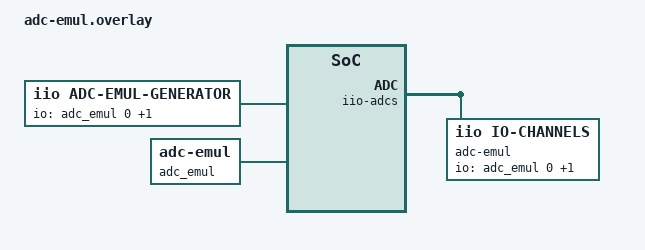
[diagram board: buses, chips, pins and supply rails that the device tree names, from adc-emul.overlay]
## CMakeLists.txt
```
# Copyright (c) 2025 Analog Devices, Inc.
# SPDX-License-Identifier: MIT

cmake_minimum_required(VERSION 3.20.0)

if(CONFIG_LIBIIO_IIOD_ADC_EMUL)
  list(APPEND EXTRA_DTC_OVERLAY_FILE adc-emul.overlay)
  list(APPEND EXTRA_CONF_FILE adc-emul.conf)
endif()

if(CONFIG_LIBIIO_IIOD_SENSOR_EMUL)
  list(APPEND EXTRA_DTC_OVERLAY_FILE sensor-emul.overlay)
  list(APPEND EXTRA_CONF_FILE sensor-emul.conf)
endif()

if(CONFIG_LIBIIO_IIOD_MULTI_SENSOR_EMUL)
  list(APPEND EXTRA_DTC_OVERLAY_FILE multi-sensor-emul.overlay)
  list(APPEND EXTRA_CONF_FILE sensor-emul.conf)
endif()

if(CONFIG_ADC_MAX32)
  list(APPEND EXTRA_DTC_OVERLAY_FILE adc-max32.overlay)
endif()

find_package(Zephyr REQUIRED HINTS $ENV{ZEPHYR_BASE})
project(iiod)

target_sources(app PRIVATE src/main.c)
```

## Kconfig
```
# Copyright (c) 2025 Analog Devices, Inc.
# SPDX-License-Identifier: MIT

menu "iiod sample"

config LIBIIO_IIOD_ADC_EMUL
	bool "Enable ADC emulator"
	help
	  Enable ADC emulator IIO device driver.

config LIBIIO_IIOD_ADC_MAX32
	bool "Enable APARD32690 on-board ADC"
	help
	  Use the real MAX32690 on-board ADC (APARD32690 board) instead of the
	  emulated ADC.

config LIBIIO_IIOD_SENSOR_EMUL
	bool "Enable sensor emulator"
	help
	  Enable sensor emulator IIO device driver.

config LIBIIO_IIOD_MULTI_SENSOR_EMUL
	bool "Enable multi-sensor emulator (two ADLTC2990 instances)"
	help
	  Enable two emulated ADLTC2990 sensor instances. Demonstrates that
	  the reg property and @N unit-address are required when multiple
	  nodes share the same compatible and name within an iio-sensors bus.

config LIBIIO_IIOD_SENSOR_ADXL345
	bool "Enable adxl345 sensor"
	help
	  Enable adxl345 sensor IIO device driver.

config LIBIIO_IIOD_SENSOR_ADXL345_STREAM
	bool "Enable adxl345 sensor stream"
	help
	  Enable adxl345 sensor stream.

endmenu

source "Kconfig.zephyr"
```

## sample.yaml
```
sample:
  description: iiod server sample
  name: iiod
common:
  tags: iiod
  harness: console
  harness_config:
    type: one_line
    regex:
      - "Booting Zephyr OS"
  extra_args:
    - platform:max32666fthr/max32666/cpu0:SNIPPET="iiod-usb"
    - platform:nucleo_h723zg/stm32h723xx:SNIPPET="iiod-network"
    - platform:cygnet/stm32l433xx:SNIPPET="iiod-usb"
    - platform:apard32690@D/max32690/m4:SNIPPET="iiod-usb"
    - platform:nrf52840dk/nrf52840:SNIPPET="iiod-usb"
    - platform:apard32690@E/max32690/m4:SNIPPET="iiod-usb"
    - platform:frdm_mcxn236/mcxn236:SNIPPET="iiod-usb"
    - platform:adafruit_metro_rp2040/rp2040:SNIPPET="iiod-usb"
    - platform:adafruit_qt_py_rp2040/rp2040:SNIPPET="iiod-cdc-acm"

tests:
  sample.iiod.emul.usb:
    depends_on:
      - usbd
    extra_args:
      - SNIPPET=iiod-usb
    extra_configs:
      - CONFIG_LIBIIO_IIOD_ADC_EMUL=y
      - CONFIG_LIBIIO_IIOD_SENSOR_EMUL=y

  sample.iiod.emul.cdc-acm:
    depends_on:
      - usbd
    extra_args:
      - SNIPPET=iiod-cdc-acm
    extra_configs:
      - CONFIG_LIBIIO_IIOD_ADC_EMUL=y
      - CONFIG_LIBIIO_IIOD_SENSOR_EMUL=y

  sample.iiod.emul.console:
    depends_on:
      - serial
    extra_args:
      - SNIPPET=iiod-console
    extra_configs:
      - CONFIG_LIBIIO_IIOD_ADC_EMUL=y
      - CONFIG_LIBIIO_IIOD_SENSOR_EMUL=y
    platform_allow:
      - apard32690/max32690/m4

  sample.iiod.multi-sensor-emul.console:
    depends_on:
      - serial
    extra_args:
      - SNIPPET=iiod-console
    extra_configs:
      - CONFIG_LIBIIO_IIOD_MULTI_SENSOR_EMUL=y
    platform_allow:
      - apard32690/max32690/m4

  sample.iiod.adc_max32.console:
    extra_args:
      - SNIPPET=iiod-console
      - EXTRA_DTC_OVERLAY_FILE=adc-max32.overlay
    platform_allow:
      - apard32690/max32690/m4
    integration_platforms:
      - apard32690/max32690/m4

  sample.iiod.lsmspg:
    depends_on:
      - feather_spi
      - feather_i2c
    integration_platforms:
      - max32666fthr/max32666/cpu0
      - max32655fthr/max32655/m4
      - cygnet
    extra_configs:
      - CONFIG_SENSOR=y
      - CONFIG_ADC=y
      - CONFIG_DAC=y
    extra_args:
      - SHIELD="adi_lsmspg;iio_adi_lsmspg"

  sample.iiod.pmod_acl:
    depends_on:
      - pmod_spi
    integration_platforms:
      - apard32690/max32690/m4
    extra_configs:
      - CONFIG_SENSOR=y
    extra_args:
      - SHIELD="pmod_acl;iio_pmod_acl"

  sample.iiod.eval_adxl362_ardz:
    depends_on:
      - arduino_spi
      - arduino_gpio
    integration_platforms:
      - nucleo_h723zg/stm32h723xx
      - apard32690/max32690/m4
      - nrf52840dk/nrf52840
      - frdm_mcxn236/mcxn236
    extra_configs:
      - CONFIG_SENSOR=y
    extra_args:
      - SHIELD="eval_adxl362_ardz;iio_eval_adxl362_ardz"

  sample.iiod.eval_ad4052_ardz:
    depends_on:
      - arduino_spi
      - arduino_gpio
    integration_platforms:
      - apard32690/max32690/m4
    extra_configs:
      - CONFIG_SENSOR=y
    extra_args:
      - SHIELD="eval_ad4052_ardz;iio_eval_ad4052_ardz"

  sample.iiod.x_nucleo_iks4a1:
    depends_on:
      - arduino_spi
      - arduino_i2c
      - arduino_gpio
    integration_platforms:
      - nucleo_h723zg/stm32h723xx
      - apard32690/max32690/m4
      - nrf52840dk/nrf52840
    extra_configs:
      - CONFIG_SENSOR=y
    extra_args:
      - SHIELD="x_nucleo_iks4a1;iio_x_nucleo_iks4a1"

  sample.iiod.adafruit_ism330dhcx:
    platform_allow:
      - adafruit_metro_rp2040/rp2040
      - adafruit_qt_py_rp2040/rp2040
    integration_platforms:
      - adafruit_metro_rp2040/rp2040
      - adafruit_qt_py_rp2040/rp2040
    extra_configs:
      - CONFIG_SENSOR=y
    extra_args:
      - SHIELD="adafruit_ism330dhcx;iio_adafruit_ism330dhcx"

  sample.iiod.adafruit_aht20:
    platform_allow:
      - adafruit_metro_rp2040/rp2040
      - adafruit_qt_py_rp2040/rp2040
    integration_platforms:
      - adafruit_metro_rp2040/rp2040
      - adafruit_qt_py_rp2040/rp2040
    extra_configs:
      - CONFIG_SENSOR=y
    extra_args:
      - SHIELD="adafruit_aht20;iio_adafruit_aht20"

  sample.iiod.adafruit_veml7700:
    platform_allow:
      - adafruit_metro_rp2040/rp2040
      - adafruit_qt_py_rp2040/rp2040
    integration_platforms:
      - adafruit_metro_rp2040/rp2040
      - adafruit_qt_py_rp2040/rp2040
    extra_configs:
      - CONFIG_SENSOR=y
    extra_args:
      - SHIELD="adafruit_veml7700;iio_adafruit_veml7700"

  sample.iiod.adafruit_lis3dh:
    platform_allow:
      - adafruit_metro_rp2040/rp2040
      - adafruit_qt_py_rp2040/rp2040
    integration_platforms:
      - adafruit_metro_rp2040/rp2040
      - adafruit_qt_py_rp2040/rp2040
    extra_configs:
      - CONFIG_SENSOR=y
    extra_args:
      - SHIELD="adafruit_lis3dh;iio_adafruit_lis3dh"

  sample.iiod.adafruit_daisy_chain:
    platform_allow:
      - adafruit_metro_rp2040/rp2040
      - adafruit_qt_py_rp2040/rp2040
    integration_platforms:
      - adafruit_metro_rp2040/rp2040
      - adafruit_qt_py_rp2040/rp2040
    extra_configs:
      - CONFIG_SENSOR=y
    extra_args:
      - SHIELD="adafruit_lis3dh;iio_adafruit_lis3dh;adafruit_aht20;iio_adafruit_aht20;adafruit_veml7700;iio_adafruit_veml7700;adafruit_ism330dhcx;iio_adafruit_ism330dhcx"

  sample.iiod.console.eval_ad4052_ardz_stream:
    extra_args:
      - SNIPPET=iiod-console
      - EXTRA_DTC_OVERLAY_FILE=eval_ad4052_ardz_stream.overlay
      - OVERLAY_CONFIG=eval_ad4052_ardz_stream.conf
      - SHIELD=eval_ad4052_ardz
    platform_allow:
      - apard32690/max32690/m4
```

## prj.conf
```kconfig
# Copyright (c) 2025 Analog Devices, Inc.
# SPDX-License-Identifier: MIT

CONFIG_ADC=y

CONFIG_CBPRINTF_FP_SUPPORT=y
CONFIG_LIBIIO_IIO_DEVICE_FP=y
CONFIG_LIBIIO_IIO_DEVICE_IO_CHANNELS_INIT_PRIORITY=90

CONFIG_LIBIIO_IIO_DEVICE=y
CONFIG_LIBIIO_IIO_DEVICE_ADC=y

# CONFIG_LOG=y
# CONFIG_LIBIIO_LOG_LEVEL_DBG=y
# CONFIG_LOG_MODE_IMMEDIATE=y
CONFIG_CACHE_MANAGEMENT=y
CONFIG_NOCACHE_MEMORY=y
```

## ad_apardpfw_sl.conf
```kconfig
# Copyright (c) 2025 Analog Devices, Inc.
# SPDX-License-Identifier: MIT

CONFIG_ETH_ADIN2111_SPI_CFG0=y
```

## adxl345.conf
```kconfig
# Copyright (c) 2026 Analog Devices, Inc.
# SPDX-License-Identifier: MIT

CONFIG_ADC=y
CONFIG_SPI=y
CONFIG_SENSOR=y
CONFIG_ADXL345=y
CONFIG_ADXL345_TRIGGER_OWN_THREAD=y
CONFIG_CBPRINTF_FP_SUPPORT=y
```

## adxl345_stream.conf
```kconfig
# Copyright (c) 2026 Analog Devices, Inc.
# SPDX-License-Identifier: MIT

CONFIG_ADC=y
CONFIG_SPI=y
CONFIG_SENSOR=y
CONFIG_ADXL345=y
CONFIG_ADXL345_TRIGGER_OWN_THREAD=y
CONFIG_CBPRINTF_FP_SUPPORT=y
CONFIG_SPI_RTIO=y
CONFIG_SENSOR_ASYNC_API=y
CONFIG_ADXL345_STREAM=y
CONFIG_MAIN_STACK_SIZE=2048
```

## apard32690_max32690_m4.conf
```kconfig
# Copyright (c) 2025 Analog Devices, Inc.
# SPDX-License-Identifier: MIT

CONFIG_ETH_ADIN2111_SPI_CFG0=n
```

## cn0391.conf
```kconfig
# Copyright (c) 2025 Analog Devices, Inc.
# SPDX-License-Identifier: MIT

CONFIG_LIBIIO_DEVICE_THERMOCOUPLE_CN0391=y
CONFIG_LIBIIO_IIOD_CN0391=y
CONFIG_ADC_AD7124=y
CONFIG_ADC=y
CONFIG_CBPRINTF_FP_SUPPORT=y
```

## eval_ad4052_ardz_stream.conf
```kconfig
# Copyright (c) 2026 Analog Devices, Inc.
# SPDX-License-Identifier: MIT

CONFIG_ADC=y
CONFIG_SPI=y
CONFIG_SPI_RTIO=y
CONFIG_ADC_STREAM=y
CONFIG_AD405X_STREAM=y
CONFIG_COUNTER=y
CONFIG_MAIN_STACK_SIZE=2048
```

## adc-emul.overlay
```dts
/*
 * Copyright (c) 2025 Analog Devices, Inc.
 *
 * SPDX-License-Identifier: MIT
 */

/ {
	iio-context {
		iio-adcs {
			adc-emul {
				compatible = "iio,io-channels";
				io-channels = <&adc_emul 0>, <&adc_emul 1>;
				io-channel-names = "voltage0", "voltage1";
				io-name = "adc-emul";
				buffer-name = "buffer0";
			};
		};
	};

	generator {
		compatible = "iio,adc-emul-generator";
		io-channels = <&adc_emul 0>, <&adc_emul 1>;
	};

	adc_emul: adc {
		compatible = "zephyr,adc-emul";
		nchannels = <2>;
		ref-internal-mv = <3300>;
		ref-external1-mv = <5000>;
		#io-channel-cells = <1>;
		#address-cells = <1>;
		#size-cells = <0>;

		channel@0 {
			reg = <0>;
			zephyr,gain = "ADC_GAIN_1";
			zephyr,reference = "ADC_REF_INTERNAL";
			zephyr,acquisition-time = <ADC_ACQ_TIME_DEFAULT>;
			zephyr,resolution = <10>;
			zephyr,vref-mv = <3300>;
		};

		channel@1 {
			reg = <1>;
			zephyr,gain = "ADC_GAIN_1";
			zephyr,reference = "ADC_REF_INTERNAL";
			zephyr,acquisition-time = <ADC_ACQ_TIME_DEFAULT>;
			zephyr,resolution = <10>;
			zephyr,vref-mv = <3300>;
		};
	};
};
```

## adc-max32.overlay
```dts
/*
 * Copyright (c) 2025 Analog Devices, Inc.
 *
 * SPDX-License-Identifier: MIT
 */

/ {
	iio-context {
		iio-adcs {
			max32-adc {
				compatible = "iio,io-channels";
				io-channels = <&adc 0>;
				io-channel-names = "voltage0";
				io-name = "max32-adc";
				buffer-name = "buffer0";
				trigger-device = <&trigger0>;
			};
		};

		trigger0: max32-trigger {
			compatible = "iio,trigger-timer";
			io-name = "trigger0";
			trigger-id = "trigger0";
			trigger-type = "timer";
		};
	};
};

&adc_clk_ext_p0_9 {
	power-source = <MAX32_VSEL_VDDIOH>;
};

&adc {
	/* Override compatible to enable streaming/FIFO support */
	compatible = "adi,max32-adc-b-me18", "adi,max32-adc";
	pinctrl-0 = <&adc_clk_ext_p0_9>;
	pinctrl-names = "default";

	#address-cells = <1>;
	#size-cells = <0>;
	#io-channel-cells = <1>;
	status = "okay";

	channel@0 {
		reg = <0>;
		zephyr,gain = "ADC_GAIN_1";
		zephyr,reference = "ADC_REF_INTERNAL";
		zephyr,acquisition-time = <ADC_ACQ_TIME_DEFAULT>;
		zephyr,resolution = <12>;
		zephyr,vref-mv = <1250>;
	};
};
```

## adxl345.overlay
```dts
/*
 * Copyright (c) 2025 Analog Devices, Inc.
 *
 * SPDX-License-Identifier: MIT
 */

#include <zephyr/dt-bindings/sensor/adxl345.h>
#include <dt-bindings/iio/sensor-channels.h>

/ {
	/* IIO Context for libiio */
	iio-context {
		iio-sensors {
			/* ADXL345 3-axis Accelerometer */
			adxl345 {
				compatible = "iio,sensor";
				sensor-device = <&adxl345_pmod_acl>;
				sensor-channels = <
					IIO_SENSOR_CHAN_ACCEL_X
					IIO_SENSOR_CHAN_ACCEL_Y
					IIO_SENSOR_CHAN_ACCEL_Z
				>;
				buffer-name = "buffer0";
				io-name = "adxl345";

				trigger_adxl345 {
					compatible = "iio,trigger-sensor";
					io-name = "trigger_sensor0";
					trigger-id = "trigger1";
				};
			};
		};
	};
};
```

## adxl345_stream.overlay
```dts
/*
 * Copyright (c) 2025 Analog Devices, Inc.
 *
 * SPDX-License-Identifier: MIT
 */

#include <zephyr/dt-bindings/i2c/i2c.h>
#include <zephyr/dt-bindings/sensor/adxl345.h>
#include <dt-bindings/iio/sensor-channels.h>

/ {
	/* IIO Context for libiio */
	iio-context {
		/* IIO Device wrapper for ADXL345 */
		/* ADXL345 3-axis Accelerometer */
		adxl345 {
			compatible = "iio,sensor";
			sensor-device = <&adxl345_pmod_acl>;
			sensor-channels = <
				IIO_SENSOR_CHAN_ACCEL_X
				IIO_SENSOR_CHAN_ACCEL_Y
				IIO_SENSOR_CHAN_ACCEL_Z
			>;
			buffer-name = "buffer0";
			io-name = "adxl345";

			trigger_adxl345_stream {
				compatible = "iio,trigger-sensor-stream";
				io-name = "trigger_sensor_stream0";
				trigger-id = "trigger1";
				sensor-stream-channels = <IIO_SENSOR_CHAN_ACCEL_XYZ>;
			};
		};
	};
};
```

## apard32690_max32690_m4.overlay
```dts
/*
 * Copyright (c) 2025 Analog Devices, Inc.
 *
 * SPDX-License-Identifier: MIT
 */

&spi4 {
    pinctrl-0 = <&spi4a_miso_p1_2 &spi4a_mosi_p1_1 &spi4a_sck_p1_3
                 &spi4a_ss0_p1_0>;
    pinctrl-names = "default";
    status = "okay";

    adin1110: adin1110@0 {
        compatible = "adi,adin1110";
        reg = <0x0>;
        spi-max-frequency = <DT_FREQ_M(25)>;
        int-gpios = <&gpio1 4 (GPIO_ACTIVE_LOW | MAX32_GPIO_VSEL_VDDIOH)>;
        reset-gpios = <&gpio1 5 (GPIO_ACTIVE_LOW | MAX32_GPIO_VSEL_VDDIOH)>;
        status = "okay";

        port1 {
            local-mac-address = [00 E0 22 FE DA C9];
        };

        mdio {
            compatible = "adi,adin2111-mdio";
            #address-cells = <1>;
            #size-cells = <0>;

            ethernet-phy@1 {
                reg = <0x1>;
                compatible = "adi,adin2111-phy";
            };
        };
    };
};
```

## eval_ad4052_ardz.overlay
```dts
/*
 * Copyright (c) 2025 Analog Devices, Inc.
 *
 * SPDX-License-Identifier: MIT
 */

/ {
	iio-context {
		#address-cells = <1>;
		#size-cells = <0>;

		iio-device@0 {
			compatible = "iio,io-channels";
			reg = <0>;
			io-channels = <&adc4052_eval_ad4052_ardz 0>;
			io-channel-names = "adc_in_ch0";
			trigger-device = <&trigger0>;
		};

		trigger0: iio-device@1 {
			compatible = "iio,trigger-timer";
			reg = <1>;
			trigger-id = "trigger0";
			trigger-type = "timer";
		};
	};
};
```

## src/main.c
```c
/*
 * Copyright (c) 2012-2014 Wind River Systems, Inc.
 *
 * SPDX-License-Identifier: MIT
 */

#include <stdio.h>

int main(void)
{
	printf("Hello World! %s\n", CONFIG_BOARD_TARGET);

	return 0;
}
```

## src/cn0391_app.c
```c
/*
 * Copyright (c) 2025 Analog Devices, Inc.
 *
 * SPDX-License-Identifier: MIT
 */

#include <zephyr/kernel.h>
#include <zephyr/device.h>
#include <zephyr/logging/log.h>

#include <thermocouple_cn0391.h>

LOG_MODULE_REGISTER(cn0391_app, CONFIG_LIBIIO_LOG_LEVEL);

#define CN0391_SAMPLING_THREAD_STACK_SIZE 2048
#define CN0391_SAMPLING_THREAD_PRIORITY 7
#define CN0391_SAMPLING_PERIOD_MS 5

static const struct device *cn0391_dev = DEVICE_DT_GET(DT_NODELABEL(cn0391_thermocouple));

static void cn0391_sampling_thread(void *arg1, void *arg2, void *arg3)
{
	int ret;

	if (!device_is_ready(cn0391_dev)) {
		LOG_ERR("CN0391 thermocouple device not ready");
		return;
	}

	while (1) {
		for (int i = 0; i < NUM_VIRTUAL_CHANNELS; i++) {
			ret = thermocouple_cn0391_sample(cn0391_dev, i);
			if (ret < 0 && ret != -EBUSY) {
				LOG_ERR("CN0391 sample failed for channel %d (%d)", i, ret);
			}
		}
		k_sleep(K_MSEC(CN0391_SAMPLING_PERIOD_MS));
	}
}

K_THREAD_DEFINE(cn0391_sampling, CN0391_SAMPLING_THREAD_STACK_SIZE,
		cn0391_sampling_thread, NULL, NULL, NULL,
		CN0391_SAMPLING_THREAD_PRIORITY, 0, 10000);
```
